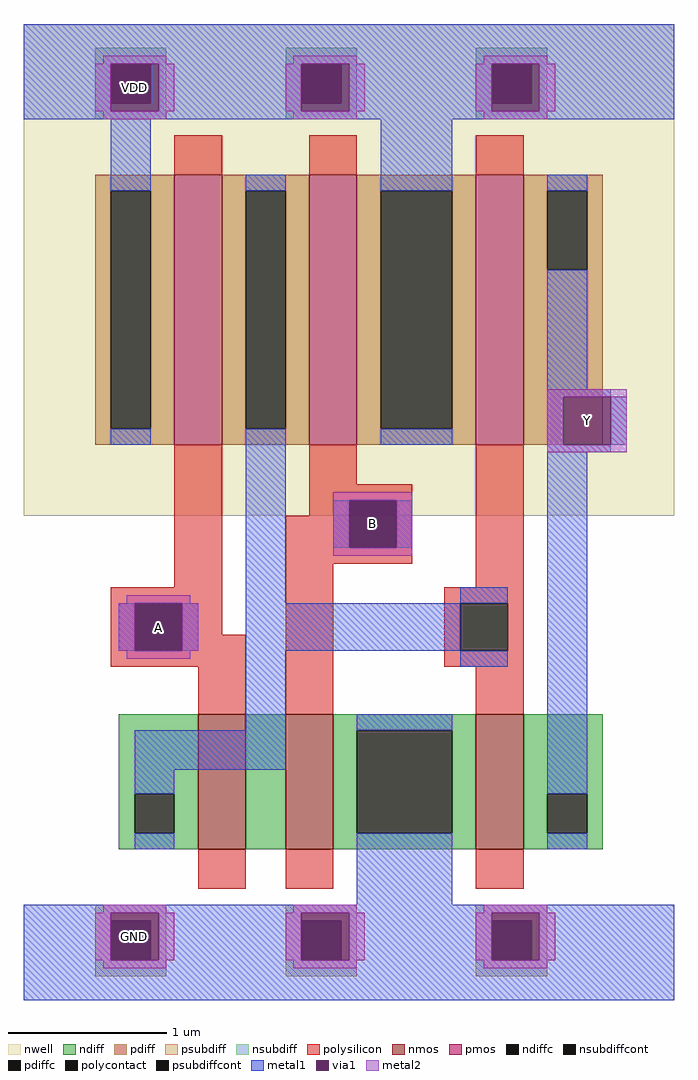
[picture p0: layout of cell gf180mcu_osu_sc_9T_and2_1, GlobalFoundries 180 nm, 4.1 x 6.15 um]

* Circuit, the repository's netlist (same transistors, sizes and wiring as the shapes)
.option scale=0.05u

.subckt gf180mcu_osu_sc_9T_and2_1 A B Y
X0 VDD B a_12_19 VDD pmos_3p3 w=34 l=6
X1 Y a_12_19 GND GND nmos_3p3 w=17 l=6
X2 Y a_12_19 VDD VDD pmos_3p3 w=34 l=6
X3 a_12_19 A VDD VDD pmos_3p3 w=34 l=6
X4 a_28_19 A a_12_19 GND nmos_3p3 w=17 l=6
X5 GND B a_28_19 GND nmos_3p3 w=17 l=6
.ends

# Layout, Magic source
magic
tech gf180mcuC
<< nwell >>
rect 0 61 82 123
<< nmos >>
rect 22 19 28 36
rect 33 19 39 36
rect 57 19 63 36
<< pmos >>
rect 19 70 25 104
rect 36 70 42 104
rect 57 70 63 104
<< ndiff >>
rect 12 26 22 36
rect 12 21 14 26
rect 19 21 22 26
rect 12 19 22 21
rect 28 19 33 36
rect 39 34 57 36
rect 39 21 42 34
rect 54 21 57 34
rect 39 19 57 21
rect 63 26 73 36
rect 63 21 66 26
rect 71 21 73 26
rect 63 19 73 21
<< pdiff >>
rect 9 102 19 104
rect 9 72 11 102
rect 16 72 19 102
rect 9 70 19 72
rect 25 102 36 104
rect 25 72 28 102
rect 33 72 36 102
rect 25 70 36 72
rect 42 102 57 104
rect 42 72 45 102
rect 54 72 57 102
rect 42 70 57 72
rect 63 102 73 104
rect 63 92 66 102
rect 71 92 73 102
rect 63 70 73 92
<< ndiffc >>
rect 14 21 19 26
rect 42 21 54 34
rect 66 21 71 26
<< pdiffc >>
rect 11 72 16 102
rect 28 72 33 102
rect 45 72 54 102
rect 66 92 71 102
<< psubdiff >>
rect 9 10 18 12
rect 9 5 11 10
rect 16 5 18 10
rect 9 3 18 5
rect 33 10 42 12
rect 33 5 35 10
rect 40 5 42 10
rect 33 3 42 5
rect 57 10 66 12
rect 57 5 59 10
rect 64 5 66 10
rect 57 3 66 5
<< nsubdiff >>
rect 9 118 18 120
rect 9 113 11 118
rect 16 113 18 118
rect 9 111 18 113
rect 33 118 42 120
rect 33 113 35 118
rect 40 113 42 118
rect 33 111 42 113
rect 57 118 66 120
rect 57 113 59 118
rect 64 113 66 118
rect 57 111 66 113
<< psubdiffcont >>
rect 11 5 16 10
rect 35 5 40 10
rect 59 5 64 10
<< nsubdiffcont >>
rect 11 113 16 118
rect 35 113 40 118
rect 59 113 64 118
<< polysilicon >>
rect 19 104 25 109
rect 36 104 42 109
rect 57 104 63 109
rect 19 52 25 70
rect 36 65 42 70
rect 36 63 49 65
rect 36 61 41 63
rect 11 50 25 52
rect 11 44 14 50
rect 20 46 25 50
rect 33 57 41 61
rect 47 57 49 63
rect 33 55 49 57
rect 20 44 28 46
rect 11 42 28 44
rect 22 36 28 42
rect 33 36 39 55
rect 57 52 63 70
rect 53 50 63 52
rect 53 44 55 50
rect 61 44 63 50
rect 53 42 63 44
rect 57 36 63 42
rect 22 14 28 19
rect 33 14 39 19
rect 57 14 63 19
<< polycontact >>
rect 14 44 20 50
rect 41 57 47 63
rect 55 44 61 50
<< metal1 >>
rect 0 118 82 123
rect 0 112 11 118
rect 17 112 35 118
rect 41 112 59 118
rect 65 112 82 118
rect 0 111 82 112
rect 11 102 16 111
rect 11 70 16 72
rect 28 102 33 104
rect 28 50 33 72
rect 45 102 54 111
rect 45 70 54 72
rect 66 102 71 104
rect 66 77 71 92
rect 66 76 74 77
rect 66 70 68 76
rect 74 70 76 76
rect 66 69 74 70
rect 39 57 41 63
rect 47 57 49 63
rect 55 50 61 52
rect 12 44 14 50
rect 20 44 22 50
rect 28 44 55 50
rect 28 34 33 44
rect 55 42 61 44
rect 14 29 33 34
rect 42 34 54 36
rect 14 26 19 29
rect 14 19 19 21
rect 42 12 54 21
rect 66 26 71 69
rect 66 19 71 21
rect 0 11 82 12
rect 0 5 11 11
rect 17 5 35 11
rect 41 5 59 11
rect 65 5 82 11
rect 0 0 82 5
<< via1 >>
rect 11 113 16 118
rect 16 113 17 118
rect 11 112 17 113
rect 35 113 40 118
rect 40 113 41 118
rect 35 112 41 113
rect 59 113 64 118
rect 64 113 65 118
rect 59 112 65 113
rect 68 70 74 76
rect 41 57 47 63
rect 14 44 20 50
rect 11 10 17 11
rect 11 5 16 10
rect 16 5 17 10
rect 35 10 41 11
rect 35 5 40 10
rect 40 5 41 10
rect 59 10 65 11
rect 59 5 64 10
rect 64 5 65 10
<< metal2 >>
rect 10 118 18 119
rect 34 118 42 119
rect 58 118 66 119
rect 9 112 11 118
rect 17 112 19 118
rect 33 112 35 118
rect 41 112 43 118
rect 57 112 59 118
rect 65 112 67 118
rect 10 111 18 112
rect 34 111 42 112
rect 58 111 66 112
rect 66 76 76 77
rect 66 70 68 76
rect 74 70 76 76
rect 66 69 76 70
rect 39 63 49 64
rect 39 57 41 63
rect 47 57 49 63
rect 39 56 49 57
rect 13 50 21 51
rect 12 44 14 50
rect 20 44 22 50
rect 13 43 21 44
rect 10 11 18 12
rect 34 11 42 12
rect 58 11 66 12
rect 9 5 11 11
rect 17 5 19 11
rect 33 5 35 11
rect 41 5 43 11
rect 57 5 59 11
rect 65 5 67 11
rect 10 4 18 5
rect 34 4 42 5
rect 58 4 66 5
<< labels >>
rlabel metal2 14 115 14 115 1 VDD
rlabel metal2 17 47 17 47 1 A
port 1 n
rlabel metal2 14 8 14 8 1 GND
rlabel metal2 44 60 44 60 1 B
port 2 n
rlabel metal2 71 73 71 73 1 Y
port 3 n
<< end >>
